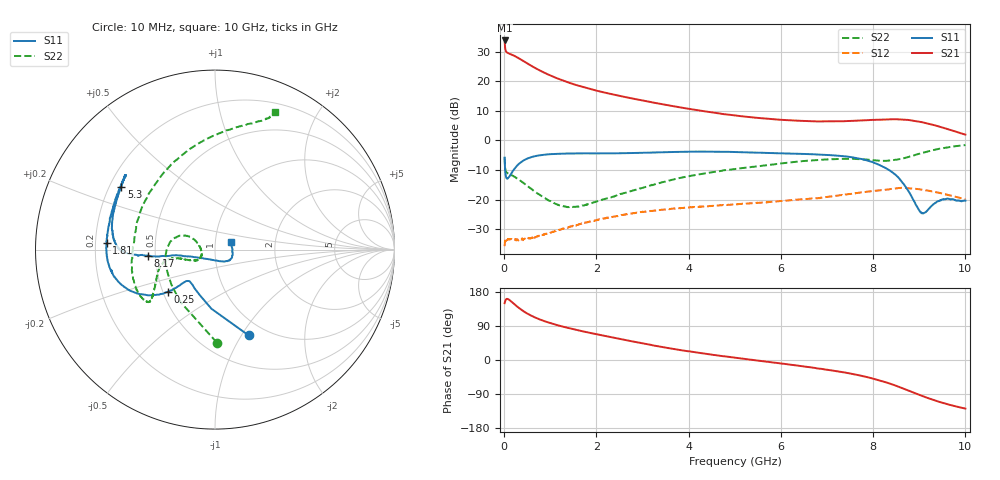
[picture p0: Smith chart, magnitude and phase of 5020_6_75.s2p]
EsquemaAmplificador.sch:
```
<QucsStudio Schematic 3.3.2>
<Properties>
View=0,0,1386,800,1,0,0
Grid=10,10,1
DataSet=*.dat
DataDisplay=*.dpl
OpenDisplay=1
showFrame=0
FrameText0=Title
FrameText1=Drawn By:
FrameText2=Date:
FrameText3=Revision:
</Properties>
<Symbol>
.ID -20 14 SUB
Line -20 -10 40 0 #000080 2 1
Line 20 -10 0 20 #000080 2 1
Line -20 10 40 0 #000080 2 1
Line -20 -10 0 20 #000080 2 1
</Symbol>
<Components>
GND * 1 680 300 0 0 0 0
.SP SP1 1 720 560 0 63 0 0 "lin" 1 "2.3 GHz" 1 "2.4 GHz" 1 "100000" 1 "no" 0 "1" 0 "2" 0 "none" 0
Pac P1 1 440 300 18 -26 0 0 "1" 1 "50 Ω" 1 "0 dBm" 0 "1 GHz" 0 "26.85" 0 "SUBCLICK" 0
GND * 1 440 330 0 0 0 0
Pac P2 1 970 300 18 -26 0 0 "2" 1 "50 Ω" 1 "0 dBm" 0 "1 GHz" 0 "26.85" 0 "SUBCLICK" 0
GND * 1 970 330 0 0 0 0
SPfile X1 1 680 270 -26 -59 0 0 "C:/Users/gonza/Documents/GitHub/ICRcode/Torreta/pcb/GRF5020_SPARS/5020_6_75.s2p" 1 "2" 0 "polar" 0 "linear" 0 "short" 0 "none" 0 "block" 0 "SOT23" 0
MLIN MS2 1 810 270 -26 15 0 0 "Subst1" 1 "0.319939 mm" 1 "10 mm" 1 "26.85" 0
SUBST Subst1 1 410 600 -30 24 0 0 "4.6" 1 "7.1 mil" 1 "0.8 mil" 1 "2e-2" 1 "1.72e-8" 1 "0.15 µm" 0 "Air" 1 "Hammerstad" 0 "Kirschning" 0
SLIN SL1 1 230 220 -26 26 0 0 "Subst1" 1 "0.319939 mm" 1 "48 mm" 1 "26.85" 0
MLIN MS1 1 550 270 -26 15 0 0 "Subst1" 1 "0.319939 mm" 1 "48mm" 1 "26.85" 0
</Components>
<Wires>
710 270 780 270 "" 0 0 0 ""
840 270 970 270 "" 0 0 0 ""
580 270 650 270 "" 0 0 0 ""
440 270 520 270 "" 0 0 0 ""
</Wires>
<Diagrams>
</Diagrams>
<Paintings>
</Paintings>
```
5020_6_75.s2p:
# Hz S  dB  R 50
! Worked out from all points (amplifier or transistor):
!   1000 points, 10 MHz to 10 GHz, reference 50 ohm
!   highest |S21| = 33.8 dB at 10 MHz (marker M1)
!   |S21| within 3 dB of that: start of sweep to 27.21 MHz
!   unconditionally stable (mu >= 1): 49.98 MHz to end of sweep
!   at 1.67 GHz: K = 1.15, MAG = 20.8 dB, |S12| = -28.2 dB
!   at 5.01 GHz: K = 1.11, MAG = 12.9 dB, |S12| = -21.5 dB
!   at 10 GHz: K = 1.15, MAG = 8.5 dB, |S12| = -19.8 dB
!   S11 on the Smith chart (normalised r, x): 10 MHz: 0.83, -1.07; 250 MHz: 0.53, -0.28; 1.81 GHz: 0.25, +0.03; 5.3 GHz: 0.25, +0.29; 8.17 GHz: 0.46, -0.04; 10 GHz: 1.19, +0.10
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1e7  -5.80 -68.6  33.75 149.9  -35.66 20.5  -5.72 -88.9
8e7  -12.76 -130.6  29.53 160.8  -33.21 7.5  -11.14 -170.9
2.5e8  -9.06 -138.2  28.32 144.3  -33.46 8.4  -12.49 164.8
5.2e8  -6.00 -151.2  25.85 121.4  -33.02 17.8  -15.56 153.4
8.1e8  -4.91 -161.6  23.35 105.3  -31.90 29.0  -18.71 156.0
1.81e9  -4.36 176.4  17.61 72.9  -27.49 38.6  -21.54 -155.6
3.26e9  -4.04 149.0  12.72 37.9  -23.60 26.2  -14.84 -163.0
5.01e9  -3.89 143.2  8.45 6.0  -21.50 8.8  -9.60 -160.9
5.3e9  -4.03 146.0  7.93 1.4  -21.24 7.2  -9.08 -156.0
8.17e9  -8.53 -174.9  7.03 -55.1  -16.79 -35.9  -6.87 175.5
1e10  -20.28 25.2  1.99 -128.2  -19.83 -103.4  -1.54 66.6
